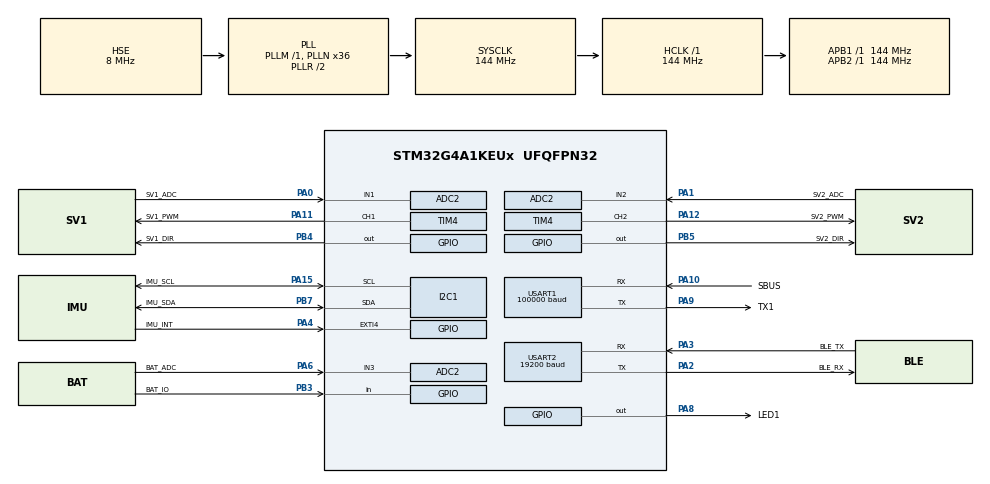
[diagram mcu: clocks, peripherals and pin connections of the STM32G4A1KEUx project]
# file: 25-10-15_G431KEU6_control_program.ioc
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ADC2.Channel-0\#ChannelRegularConversion=ADC_CHANNEL_1
ADC2.ClockPrescaler=ADC_CLOCK_SYNC_PCLK_DIV4
ADC2.NbrOfConversionFlag=1
ADC2.OffsetNumber-0\#ChannelRegularConversion=ADC_OFFSET_NONE
ADC2.Rank-0\#ChannelRegularConversion=1
ADC2.SamplingTime-0\#ChannelRegularConversion=ADC_SAMPLETIME_2CYCLES_5
Dma.Request0=USART1_RX
Dma.Request1=USART1_TX
Dma.Request2=USART2_RX
Dma.Request3=USART2_TX
Dma.USART1_RX.0.Direction=DMA_PERIPH_TO_MEMORY
Dma.USART1_RX.0.EventEnable=DISABLE
Dma.USART1_RX.0.Instance=DMA1_Channel1
Dma.USART1_RX.0.MemDataAlignment=DMA_MDATAALIGN_BYTE
Dma.USART1_RX.0.MemInc=DMA_MINC_ENABLE
Dma.USART1_RX.0.Mode=DMA_CIRCULAR
Dma.USART1_RX.0.PeriphDataAlignment=DMA_PDATAALIGN_BYTE
Dma.USART1_RX.0.PeriphInc=DMA_PINC_DISABLE
Dma.USART1_RX.0.Polarity=HAL_DMAMUX_REQ_GEN_RISING
Dma.USART1_RX.0.Priority=DMA_PRIORITY_LOW
Dma.USART1_RX.0.RequestNumber=1
Dma.USART1_RX.0.SignalID=NONE
Dma.USART1_RX.0.SyncEnable=DISABLE
Dma.USART1_RX.0.SyncPolarity=HAL_DMAMUX_SYNC_NO_EVENT
Dma.USART1_RX.0.SyncRequestNumber=1
Dma.USART1_RX.0.SyncSignalID=NONE
Dma.USART1_TX.1.Direction=DMA_MEMORY_TO_PERIPH
Dma.USART1_TX.1.EventEnable=DISABLE
Dma.USART1_TX.1.Instance=DMA1_Channel2
Dma.USART1_TX.1.MemDataAlignment=DMA_MDATAALIGN_BYTE
Dma.USART1_TX.1.MemInc=DMA_MINC_ENABLE
Dma.USART1_TX.1.Mode=DMA_NORMAL
Dma.USART1_TX.1.PeriphDataAlignment=DMA_PDATAALIGN_BYTE
Dma.USART1_TX.1.PeriphInc=DMA_PINC_DISABLE
Dma.USART1_TX.1.Polarity=HAL_DMAMUX_REQ_GEN_RISING
Dma.USART1_TX.1.Priority=DMA_PRIORITY_LOW
Dma.USART1_TX.1.RequestNumber=1
Dma.USART1_TX.1.SignalID=NONE
Dma.USART1_TX.1.SyncEnable=DISABLE
Dma.USART1_TX.1.SyncPolarity=HAL_DMAMUX_SYNC_NO_EVENT
Dma.USART1_TX.1.SyncRequestNumber=1
Dma.USART1_TX.1.SyncSignalID=NONE
Dma.USART2_RX.2.Direction=DMA_PERIPH_TO_MEMORY
Dma.USART2_RX.2.EventEnable=DISABLE
Dma.USART2_RX.2.Instance=DMA1_Channel3
Dma.USART2_RX.2.MemDataAlignment=DMA_MDATAALIGN_BYTE
Dma.USART2_RX.2.MemInc=DMA_MINC_ENABLE
Dma.USART2_RX.2.Mode=DMA_CIRCULAR
Dma.USART2_RX.2.PeriphDataAlignment=DMA_PDATAALIGN_BYTE
Dma.USART2_RX.2.PeriphInc=DMA_PINC_DISABLE
Dma.USART2_RX.2.Polarity=HAL_DMAMUX_REQ_GEN_RISING
Dma.USART2_RX.2.Priority=DMA_PRIORITY_LOW
Dma.USART2_RX.2.RequestNumber=1
Dma.USART2_RX.2.SignalID=NONE
Dma.USART2_RX.2.SyncEnable=DISABLE
Dma.USART2_RX.2.SyncPolarity=HAL_DMAMUX_SYNC_NO_EVENT
Dma.USART2_RX.2.SyncRequestNumber=1
Dma.USART2_RX.2.SyncSignalID=NONE
Dma.USART2_TX.3.Direction=DMA_MEMORY_TO_PERIPH
Dma.USART2_TX.3.EventEnable=DISABLE
Dma.USART2_TX.3.Instance=DMA1_Channel4
Dma.USART2_TX.3.MemDataAlignment=DMA_MDATAALIGN_BYTE
Dma.USART2_TX.3.MemInc=DMA_MINC_ENABLE
Dma.USART2_TX.3.Mode=DMA_NORMAL
Dma.USART2_TX.3.PeriphDataAlignment=DMA_PDATAALIGN_BYTE
Dma.USART2_TX.3.PeriphInc=DMA_PINC_DISABLE
Dma.USART2_TX.3.Polarity=HAL_DMAMUX_REQ_GEN_RISING
Dma.USART2_TX.3.Priority=DMA_PRIORITY_LOW
Dma.USART2_TX.3.RequestNumber=1
Dma.USART2_TX.3.SignalID=NONE
Dma.USART2_TX.3.SyncEnable=DISABLE
Dma.USART2_TX.3.SyncPolarity=HAL_DMAMUX_SYNC_NO_EVENT
Dma.USART2_TX.3.SyncRequestNumber=1
Dma.USART2_TX.3.SyncSignalID=NONE
I2C1.Timing=0x60715075
Mcu.Family=STM32G4
Mcu.Name=STM32G4A1KEUx
Mcu.Package=UFQFPN32
NVIC.DMA1_Channel1_IRQn=true\:0\:0\:false\:false\:true\:false\:true\:true
NVIC.DMA1_Channel2_IRQn=true\:0\:0\:false\:false\:true\:false\:true\:true
NVIC.DMA1_Channel3_IRQn=true\:0\:0\:false\:false\:true\:false\:true\:true
NVIC.DMA1_Channel4_IRQn=true\:0\:0\:false\:false\:true\:false\:true\:true
NVIC.EXTI4_IRQn=true\:0\:0\:false\:false\:true\:true\:true\:true
NVIC.PriorityGroup=NVIC_PRIORITYGROUP_4
NVIC.TIM3_IRQn=true\:0\:0\:false\:false\:true\:true\:true\:true
NVIC.TIM4_IRQn=true\:0\:0\:false\:false\:true\:true\:true\:true
NVIC.TIM6_DAC_IRQn=true\:0\:0\:false\:false\:true\:true\:true\:true
NVIC.USART1_IRQn=true\:0\:0\:false\:false\:true\:false\:true\:true
NVIC.USART2_IRQn=true\:0\:0\:false\:false\:true\:false\:true\:true
PA0.GPIO_Label=SV1_ADC
PA0.Mode=IN1-Single-Ended
PA0.Signal=ADC2_IN1
PA1.GPIO_Label=SV2_ADC
PA1.Mode=IN2-Single-Ended
PA1.Signal=ADC2_IN2
PA10.GPIO_Label=SBUS
PA10.Mode=Asynchronous
PA10.Signal=USART1_RX
PA11.GPIO_Label=SV1_PWM
PA11.Signal=S_TIM4_CH1
PA12.GPIO_Label=SV2_PWM
PA12.Signal=S_TIM4_CH2
PA13.Mode=Serial_Wire
PA13.Signal=SYS_JTMS-SWDIO
PA14.Mode=Serial_Wire
PA14.Signal=SYS_JTCK-SWCLK
PA15.GPIO_Label=IMU_SCL
PA15.Mode=I2C
PA15.Signal=I2C1_SCL
PA2.GPIO_Label=BLE_RX
PA2.Mode=Asynchronous
PA2.Signal=USART2_TX
PA3.GPIO_Label=BLE_TX
PA3.Mode=Asynchronous
PA3.Signal=USART2_RX
PA4.GPIO_Label=IMU_INT
PA4.Signal=GPXTI4
PA6.GPIO_Label=BAT_ADC
PA6.Mode=IN3-Single-Ended
PA6.Signal=ADC2_IN3
PA8.GPIO_Label=LED1
PA8.Signal=GPIO_Output
PA9.GPIO_Label=TX1
PA9.Mode=Asynchronous
PA9.Signal=USART1_TX
PB3.GPIO_Label=BAT_IO
PB3.Signal=GPIO_Input
PB4.GPIO_Label=SV1_DIR
PB4.Signal=GPIO_Output
PB5.GPIO_Label=SV2_DIR
PB5.Signal=GPIO_Output
PB7.GPIO_Label=IMU_SDA
PB7.Mode=I2C
PB7.Signal=I2C1_SDA
PF0-OSC_IN.Mode=HSE-External-Oscillator
PF0-OSC_IN.Signal=RCC_OSC_IN
PF1-OSC_OUT.Mode=HSE-External-Oscillator
PF1-OSC_OUT.Signal=RCC_OSC_OUT
ProjectManager.HeapSize=0x200
ProjectManager.StackSize=0x400
ProjectManager.TargetToolchain=MDK-ARM V5.32
RCC.ADC12Freq_Value=144000000
RCC.ADC345Freq_Value=144000000
RCC.AHBFreq_Value=144000000
RCC.APB1Freq_Value=144000000
RCC.APB1TimFreq_Value=144000000
RCC.APB2Freq_Value=144000000
RCC.APB2TimFreq_Value=144000000
RCC.CortexFreq_Value=144000000
RCC.EXTERNAL_CLOCK_VALUE=12288000
RCC.HCLKFreq_Value=144000000
RCC.HSE_VALUE=8000000
RCC.HSI48_VALUE=48000000
RCC.HSI_VALUE=16000000
RCC.LSE_VALUE=32768
RCC.PLLN=36
RCC.PLLSourceVirtual=RCC_PLLSOURCE_HSE
RCC.SYSCLKFreq_VALUE=144000000
RCC.SYSCLKSource=RCC_SYSCLKSOURCE_PLLCLK
RCC.VCOOutputFreq_Value=288000000
SH.S_TIM4_CH1.0=TIM4_CH1,PWM Generation1 CH1
SH.S_TIM4_CH2.0=TIM4_CH2,PWM Generation2 CH2
TIM3.Channel-Output\ Compare2\ No\ Output=TIM_CHANNEL_2
TIM3.PeriodNoDither=1000-1
TIM3.Prescaler=144-1
TIM4.AutoReloadPreload=TIM_AUTORELOAD_PRELOAD_ENABLE
TIM4.Channel-PWM\ Generation1\ CH1=TIM_CHANNEL_1
TIM4.Channel-PWM\ Generation2\ CH2=TIM_CHANNEL_2
TIM4.OCMode_PWM-PWM\ Generation2\ CH2=TIM_OCMODE_PWM1
TIM4.PeriodNoDither=5000-1
TIM4.Prescaler=144-1
TIM4.PulseNoDither_1=2500
TIM4.PulseNoDither_2=500
TIM4.TIM_MasterOutputTrigger=TIM_TRGO_UPDATE
TIM6.PeriodNoDither=500-1
TIM6.Prescaler=1440-1
USART1.BaudRate=100000
USART1.Parity=PARITY_EVEN
USART1.StopBits=STOPBITS_2
USART1.VirtualMode-Asynchronous=VM_ASYNC
USART1.WordLength=WORDLENGTH_9B
USART2.BaudRate=19200
USART2.VirtualMode-Asynchronous=VM_ASYNC
VP_CORDIC_VS_CORDIC.Mode=CORDIC_Activate
VP_SYS_VS_DBSignals.Mode=DisableDeadBatterySignals
VP_TIM3_VS_no_output2.Mode=Output Compare2 No Output
VP_TIM6_VS_ClockSourceINT.Mode=Enable_Timer
board=custom

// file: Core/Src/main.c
/* USER CODE BEGIN Header */
/**
  ******************************************************************************
  * @file           : main.c
  * @brief          : Main program body
  ******************************************************************************
  * @attention
  *
  * Copyright (c) 2025 STMicroelectronics.
  * All rights reserved.
  *
  * This software is licensed under terms that can be found in the LICENSE file
  * in the root directory of this software component.
  * If no LICENSE file comes with this software, it is provided AS-IS.
  *
  ******************************************************************************
  */
/* USER CODE END Header */
#include "main.h"
#include "adc.h"
#include "cordic.h"
#include "dma.h"
#include "i2c.h"
#include "tim.h"
#include "usart.h"
#include "gpio.h"

/* USER CODE BEGIN Includes */
#include <stdio.h>
#include <stdint.h>
#include <math.h>  // 用于比较标准数学函数
#include <string.h>
#include <stdlib.h>
/* USER CODE END Includes */

/* USER CODE BEGIN PV */
//-------------control program begin---------------
// 全局变量定义
#define SERVO1_DIR 1.0f
#define SERVO2_DIR -1.0f
volatile MotionParams_t current_params;
volatile MotionParams_t new_params;
volatile MotionParams_t transition_params;
volatile SystemState_t system_state = STATE_IDLE;
volatile uint16_t t_counter = 0;
volatile uint8_t params_updated = 0;
volatile uint8_t transition_active = 0;
volatile uint32_t homing_delay_cnt = 0;
#define HOMING_DELAY_MS 200
volatile uint8_t servo_enable_flag = 0;//舵机使能标志位（上电默认关闭，CH5下拨后开启）
volatile uint8_t ch5_last_state = 0;  // 0=未下拨，1=已下拨
//-------------control program end------------------
//-------------sbus program begin----------------
SBUS_HandleTypeDef sbus = {0};
extern UART_HandleTypeDef huart1;  // 发送数据
extern UART_HandleTypeDef huart2;  // 接收数据
//-------------sbus program end------------------
/* USER CODE END PV */

void SystemClock_Config(void);
/* USER CODE BEGIN PFP */
//-------------control program begin---------------
// 函数声明
void CORDIC_Init(void);
void Range_to_2Pi(float *in, float *out);
float cordic_cos(float angle_rad);
float calculate_phi_value(uint16_t t, volatile MotionParams_t* params,float dir);
void update_derived_params(volatile MotionParams_t* params);
void Update_PWM_CCR(float phi_value);
void Motion_State_Machine_Handler(void);
void Update_Motion_Parameters(float phi_max, float phi_min, uint16_t n);
void Get_Current_Status(float* current_angle, uint16_t* current_t, SystemState_t* state, uint8_t* is_transition);
//-------------control program end------------------
void parse_sbus_frame(void);
uint16_t map_throttle_to_n(uint16_t throttle_value);
void process_sbus_throttle(void);
void process_ch5_switch(void);
/* USER CODE END PFP */

int main(void)
{

  /* MCU Configuration--------------------------------------------------------*/

  /* Reset of all peripherals, Initializes the Flash interface and the Systick. */
  HAL_Init();

  /* Configure the system clock */
  SystemClock_Config();

  /* Initialize all configured peripherals */
  MX_GPIO_Init();
  MX_DMA_Init();
  MX_ADC2_Init();
  MX_I2C1_Init();
  MX_TIM3_Init();
  MX_TIM4_Init();
  MX_USART1_UART_Init();
  MX_USART2_UART_Init();
  MX_CORDIC_Init();
  MX_TIM6_Init();
  /* USER CODE BEGIN 2 */

  //-------------control program begin----------------
    // 初始化CORDIC
    CORDIC_Init();
    //初始化默认参数
    current_params.phi_max = 120.0f;//最大120度
    current_params.phi_min = 30.0f;  //最小30度
    current_params.n = 199;         // 200 means 周期约2s
    update_derived_params(&current_params);
    // 启动PWM输出
    HAL_TIM_PWM_Start(&htim4, TIM_CHANNEL_1);
    HAL_TIM_PWM_Start(&htim4, TIM_CHANNEL_2);
    //启动TIM4中断
    HAL_TIM_Base_Start_IT(&htim4);
		HAL_TIM_Base_Start_IT(&htim6);
  //-------------control program end------------------

//-------------sbus program begin----------------
    // Clear all relevant flags for UART and DMA
    __HAL_UART_CLEAR_FLAG(&huart1, UART_FLAG_IDLE);
    __HAL_DMA_CLEAR_FLAG(huart1.hdmarx, DMA_FLAG_TC2);
    __HAL_UART_ENABLE_IT(&huart1, UART_IT_IDLE);               // start usart1 idle
    HAL_UART_Receive_DMA(&huart1, sbus.rx_buf, SBUS_FRAME_SIZE);// start usart1 dma receive
//-------------sbus program end------------------

  /* USER CODE END 2 */

  /* Infinite loop */
  /* USER CODE BEGIN WHILE */
  while (1)
  {
            if ( sbus.idle_flag ) {
          sbus.idle_flag  = 0;
          sbus.rx_index++;
          parse_sbus_frame();
//          printf("Received: %u bytes :", sbus.rx_len);
//          for (int i = 0; i < sbus.rx_len; i++) {
//              printf("%02X ", sbus.rx_buf[i]);
//          }
//          printf("\n\r");
          HAL_UART_Receive_DMA(&huart1, sbus.rx_buf, SBUS_FRAME_SIZE);
      }
      // 新增：先检测CH5状态，判断是否使能舵机
    process_ch5_switch();
    // 仅当舵机使能后，才处理SBUS调速和状态机
    if (servo_enable_flag == 1) {
			//处理SBUS油门控制
        process_sbus_throttle();
		}
		HAL_Delay(1);
//         // 可选：发送调试信息到串口
//        static uint32_t last_debug_time = 0;
//        if (HAL_GetTick() - last_debug_time > 1000) {  // ÿ���ӡһ��
//            printf("n: %d, throttle: %d\r\n",
//                   current_params.n, sbus.channels[2]);
//            last_debug_time = HAL_GetTick();
//        }
//
//        HAL_Delay(1);  // 适当延时

    //-------------control program begin----------------
//
//              //  测试2：在运行过程中更新参数
//        HAL_Delay(10000); // 运行10秒后更新参数
//        Update_Motion_Parameters(180.0f, 90.0f, 199); // 2s����
////        printf("10s done update param...\r\n");
//
//        HAL_Delay(10000); //  再运行1s后更新
//        Update_Motion_Parameters(150.0f, 30.0f, 99); //  1s����
////        printf("5s done update param again...\r\n");

    //-------------control program end------------------
    /* USER CODE END WHILE */
}
	}
void SystemClock_Config(void)
{
  RCC_OscInitTypeDef RCC_OscInitStruct = {0};
  RCC_ClkInitTypeDef RCC_ClkInitStruct = {0};

  /** Configure the main internal regulator output voltage
  */
  HAL_PWREx_ControlVoltageScaling(PWR_REGULATOR_VOLTAGE_SCALE1);

  /** Initializes the RCC Oscillators according to the specified parameters
  * in the RCC_OscInitTypeDef structure.
  */
  RCC_OscInitStruct.OscillatorType = RCC_OSCILLATORTYPE_HSE;
  RCC_OscInitStruct.HSEState = RCC_HSE_ON;
  RCC_OscInitStruct.PLL.PLLState = RCC_PLL_ON;
  RCC_OscInitStruct.PLL.PLLSource = RCC_PLLSOURCE_HSE;
  RCC_OscInitStruct.PLL.PLLM = RCC_PLLM_DIV1;
  RCC_OscInitStruct.PLL.PLLN = 36;
  RCC_OscInitStruct.PLL.PLLP = RCC_PLLP_DIV2;
  RCC_OscInitStruct.PLL.PLLQ = RCC_PLLQ_DIV2;
  RCC_OscInitStruct.PLL.PLLR = RCC_PLLR_DIV2;
  if (HAL_RCC_OscConfig(&RCC_OscInitStruct) != HAL_OK)
  {
    Error_Handler();
  }

  /** Initializes the CPU, AHB and APB buses clocks
  */
  RCC_ClkInitStruct.ClockType = RCC_CLOCKTYPE_HCLK|RCC_CLOCKTYPE_SYSCLK
                              |RCC_CLOCKTYPE_PCLK1|RCC_CLOCKTYPE_PCLK2;
  RCC_ClkInitStruct.SYSCLKSource = RCC_SYSCLKSOURCE_PLLCLK;
  RCC_ClkInitStruct.AHBCLKDivider = RCC_SYSCLK_DIV1;
  RCC_ClkInitStruct.APB1CLKDivider = RCC_HCLK_DIV1;
  RCC_ClkInitStruct.APB2CLKDivider = RCC_HCLK_DIV1;

  if (HAL_RCC_ClockConfig(&RCC_ClkInitStruct, FLASH_LATENCY_4) != HAL_OK)
  {
    Error_Handler();
  }
}

/* USER CODE BEGIN 4 */
//-------------control program begin----------------
// 新增：TIM6中断回调函数（1ms触发一次）
void HAL_TIM_PeriodElapsedCallback(TIM_HandleTypeDef *htim) {
    if (htim->Instance == TIM6) {
        // 仅当舵机使能后，才执行状态机
        if (servo_enable_flag == 1) {
            Motion_State_Machine_Handler();
        } else {
            // 未使能时，保持舵机初始位置（防止扑动）
            float phi_servo_zero1 = 0.0f;
            float phi_servo_zero2 = 140.0f;
            uint32_t ccr1_zero = (uint32_t)((phi_servo_zero1 * 2000.0f) / 180.0f + 500.0f);
            uint32_t ccr2_zero = (uint32_t)((phi_servo_zero2 * 2000.0f) / 180.0f + 500.0f);
            ccr1_zero = (ccr1_zero > 2500) ? 2500 : (ccr1_zero < 500) ? 500 : ccr1_zero;
            ccr2_zero = (ccr2_zero > 2500) ? 2500 : (ccr2_zero < 500) ? 500 : ccr2_zero;
            TIM4->CCR1 = ccr1_zero;
            TIM4->CCR2 = ccr2_zero;
        }
    }
}
// CORDIC初始化
void CORDIC_Init(void) {
    // 配置CORDIC为单输入余弦模式，6周期24圈精度
    CORDIC->CSR = CORDIC_FUNCTION_COSINE | CORDIC_PRECISION_6CYCLES;
//    // 巨简洁模式
//    CORDIC->CSR = 0x00180060; //32bit、双in双out，模量为1、24cycles
}
void Range_to_2Pi(float *in, float *out) {// 角度范围限制函数
    float tempf = *in;
    if(tempf > PI) {
        tempf = fmodf(tempf, 2*PI);
        if(tempf > PI) tempf -= 2*PI;
    }
    else if(tempf < -PI) {
        tempf = fmodf(tempf, 2*PI);
        if(tempf < -PI) tempf += 2*PI;
    }
    *out = tempf;
}
// CORDIC余弦计算
float cordic_cos(float angle_rad) {
    // 将角度转换为Q1.31格式
    int32_t angle_q31 = (int32_t)(angle_rad * 683565275.58f);
    // 写入角度值
    CORDIC->WDATA = angle_q31;
    // 等待计算完成
    while ((CORDIC->CSR & CORDIC_CSR_RRDY) == 0);
    // 读取结果并转换为浮点数
    int32_t result = CORDIC->RDATA;
    return (float)result / 2147483648.0f;

//        HAL_GPIO_WritePin(LED1_GPIO_Port,LED1_Pin,GPIO_PIN_SET);
//        printf("CSR = 0x%08lX\n", (unsigned long)CORDIC->CSR);
	//        // 将角度转换为Q1.31格式
//        int32_t angle_q31 = (int32_t)(angle_rad * 683565275.58f);
//        CORDIC->WDATA = angle_q31;
//        CORDIC->WDATA = 0x7FFFFFFF;   // ģֵ=1.0
//        while(!(CORDIC->CSR & CORDIC_CSR_RRDY)){ __NOP();}
//        int32_t cos_value = CORDIC->RDATA; // cos
//        int32_t sin_value = CORDIC->RDATA; // sin
//        return (float)cos_value / 2147483648.0f;

}

// 更新中间参数计算
void update_derived_params(volatile MotionParams_t* params) {
    params->phi_s = (params->phi_max - params->phi_min) / 2.0f;
    params->phi_m = (params->phi_max + params->phi_min) / 2.0f;
}
// 计算运动曲线角度计算
float calculate_phi_value(uint16_t t, volatile MotionParams_t* params, float dir) {
    // 计算角度参数：2π*(t/(2n+2))
    if (t == 0)
    {
      if (dir == SERVO1_DIR) return 20.0f;      // 舵机1归位90°
      if (dir == SERVO2_DIR) return 0.0f;     // 舵机2归位0°
    }
	  float angle = 2.0f * 3.1415926535f * ((float)t / (2.0f * params->n + 2.0f));
    float limited_angle;
    Range_to_2Pi(&angle, &limited_angle);
    // 使用CORDIC计算余弦
    float cos_val = cordic_cos(limited_angle);
//    printf("cos_vals=%.1f\r\n", cos_val);
//    printf("UP: phi_s=%.1f, phi_m=%.1f\r\n", params->phi_s, params->phi_m);
    // 计算最终角度值
    return params->phi_s * (dir*cos_val) + params->phi_m;
}
//更新PWM占空比

/*void Update_PWM_CCR(float phi_value) {
    // 将角度值线性映射到CCR值 (500-2500)
    volatile MotionParams_t* params = &current_params;
//    uint32_t ccr_value = (uint32_t)((phi_value - params->phi_min) *
//                                   4999.0f / (params->phi_max - params->phi_min));
    uint32_t ccr_value = (uint32_t)((phi_value*2000)/180.0f+500);

     // 限制CCR值在有效范围内
    if (ccr_value > 2500) ccr_value = 2500;
    if (ccr_value < 500) ccr_value = 500;

    // 更新两个通道的CCR值
    TIM4->CCR1 = ccr_value;
    TIM4->CCR2 = ccr_value;
}*/

// // 更新PWM占空比(双通道反向)
void Update_PWM_CCR(float phi_value) {
    volatile MotionParams_t* params = &current_params;
    // 正向角度：传入的phi_value
    float phi_forward = phi_value;
    // 反向角度：基于正向角度取反（保持反向逻辑）
    float phi_reverse = params->phi_m * 2 - phi_value; // 等价于phi_m - (phi_forward - phi_m)

     // 角度→CCR映射（原逻辑不变）
    uint32_t ccr1_value = (uint32_t)((phi_forward * 2000.0f) / 180.0f + 500.0f);
    uint32_t ccr2_value = (uint32_t)((phi_reverse * 2000.0f) / 180.0f + 500.0f);

    //限幅保护
    ccr1_value = (ccr1_value > 2500) ? 2500 : (ccr1_value < 500) ? 500 : ccr1_value;
    ccr2_value = (ccr2_value > 2500) ? 2500 : (ccr2_value < 500) ? 500 : ccr2_value;

    //更新PWM
    TIM4->CCR1 = ccr1_value;
    TIM4->CCR2 = ccr2_value;
}
// 用户参数更新接口(优化后)
void Update_Motion_Parameters(float phi_max, float phi_min, uint16_t n) {
//    printf("param update request: max=%.1f, min=%.1f, n=%d\r\n", phi_max, phi_min, n);

    // 保存完整新参数
    new_params.phi_max = phi_max;
    new_params.phi_min = phi_min;
    new_params.n = n;
    update_derived_params(&new_params);

    // 根据当前状态创建相应的过渡参数
    if (system_state == STATE_DOWNSTROKE) {
       // 在downstroke期间更新：过渡参数使用原phi_min + 新phi_max和n
//        printf("DOWNSTROKE--,creat trans params\r\n");
        printf("1\r\n");
        transition_params.phi_max = phi_max;                    //新最大值
        transition_params.phi_min = current_params.phi_min;     // 原最小值（保持连续）
        transition_params.n = n;                                // 新n值
        update_derived_params(&transition_params);
        transition_active = 1;
        printf("trans param: max=%.1f, min=%.1f, n=%d\r\n",
               transition_params.phi_max, transition_params.phi_min, transition_params.n);

    }
    else if (system_state == STATE_UPSTROKE) {
         // 在upstroke期间更新：过渡参数使用原phi_max + 新phi_min和新n值
//        printf("UPSTROKE--,creat trans params\r\n");
        printf("2\r\n");
        transition_params.phi_max = current_params.phi_max;     // 原最大值（保持连续）
        transition_params.phi_min = phi_min;                    // 新最小值
        transition_params.n = n;                                // 新n值ֵ
        update_derived_params(&transition_params);
        transition_active = 1;
        printf("trans params: max=%.1f, min=%.1f, n=%d\r\n",
               transition_params.phi_max, transition_params.phi_min, transition_params.n);

    }
    else if (system_state == STATE_IDLE) {
         // 空闲状态：直接应用完整参数
//        printf("IDLE--,aplly new params\r\n");
//        printf("3\r\n");
        current_params = new_params;
        transition_active = 0;
    }
    else if (system_state == STATE_TRANSITION_UPSTROKE) {
        // 已经在过渡状态中：直接更新new_params，当前过渡继续执行
//        printf("TRANSITION--,wait to update\r\n");
//        printf("4\r\n");
    }
    params_updated = 1;
}
//  状态机处理函数（改造后）
void Motion_State_Machine_Handler(void) {
    float phi_servo1, phi_servo2; // 舵机1/2的目标角度
       switch(system_state){
	     case STATE_IDLE:
				  if (servo_enable_flag == 1) {
					system_state = STATE_HOMING;
          homing_delay_cnt = 0;
		 }
            break;
		    case STATE_HOMING:
		        // 1. 定义舵机0度目标值，复用原有角度→CCR的映射逻辑
          float phi_servo_zero1 = 20.0f;
				  float phi_servo_zero2 = 0.0f;		//舵机目标归位角度
          uint32_t ccr1_zero = (uint32_t)((phi_servo_zero1 * 2000.0f) / 180.0f + 500.0f);
          uint32_t ccr2_zero = (uint32_t)((phi_servo_zero2 * 2000.0f) / 180.0f + 500.0f);

          // 2. 限幅保护（和其他状态保持一致，防止异常值）
          ccr1_zero = (ccr1_zero > 2500) ? 2500 : (ccr1_zero < 500) ? 500 : ccr1_zero;
          ccr2_zero = (ccr2_zero > 2500) ? 2500 : (ccr2_zero < 500) ? 500 : ccr2_zero;

          // 3. 更新PWM寄存器，让双舵机归位到0度
          TIM4->CCR1 = ccr1_zero;
          TIM4->CCR2 = ccr2_zero;
				// 第二步：延时计数，等待舵机到位
            homing_delay_cnt++;
            if (homing_delay_cnt >= HOMING_DELAY_MS) {
                // 归位完成：切换到下冲程，清零步数计数器
                system_state = STATE_DOWNSTROKE;
                t_counter = 0;
                homing_delay_cnt = 0;   // 清零延时计数器，方便下次归位
            }
            break;

        case STATE_DOWNSTROKE:
            if (t_counter <= current_params.n) {
                 // 1. 计算两个舵机的角度（方向系数分别为SERVO1_DIR/SERVO2_DIR）
                phi_servo1 = calculate_phi_value(t_counter, &current_params, SERVO1_DIR);
                phi_servo2 = calculate_phi_value(t_counter, &current_params, SERVO2_DIR);

                // 2. 分别计算两个舵机的CCR值（复用原有PWM映射逻辑）
                uint32_t ccr1 = (uint32_t)((phi_servo1 * 2000.0f) / 180.0f + 500.0f);
                uint32_t ccr2 = (uint32_t)((phi_servo2 * 2000.0f) / 180.0f + 500.0f);

                // 3. 限幅保护
                ccr1 = (ccr1 > 2500) ? 2500 : (ccr1 < 500) ? 500 : ccr1;
                ccr2 = (ccr2 > 2500) ? 2500 : (ccr2 < 500) ? 500 : ccr2;

                // 4. 更新PWM通道
                TIM4->CCR1 = ccr1;
                TIM4->CCR2 = ccr2;

                t_counter++;
                  // 原有状态切换逻辑（完全不变）
                if (t_counter > current_params.n) {
                    if (transition_active) {
                        system_state = STATE_TRANSITION_UPSTROKE;
                        current_params = transition_params;
                    }
                    else if (params_updated) {
                        current_params = new_params;
                        params_updated = 0;
                        system_state = STATE_UPSTROKE;
                    }
                    else {
                        system_state = STATE_UPSTROKE;
                    }
                    transition_active = 0;
                    t_counter = current_params.n+1;
                }
            }
            break;

        case STATE_UPSTROKE:
            if (t_counter <= 2*current_params.n+1) {
                 // 同上：计算双舵机角度→CCR→更新PWM
                phi_servo1 = calculate_phi_value(t_counter, &current_params, SERVO1_DIR);
                phi_servo2 = calculate_phi_value(t_counter, &current_params, SERVO2_DIR);

                uint32_t ccr1 = (uint32_t)((phi_servo1 * 2000.0f) / 180.0f + 500.0f);
                uint32_t ccr2 = (uint32_t)((phi_servo2* 2000.0f) / 180.0f + 500.0f);

                ccr1 = (ccr1 > 2500) ? 2500 : (ccr1 < 500) ? 500 : ccr1;
                ccr2 = (ccr2 > 2500) ? 2500 : (ccr2 < 500) ? 500 : ccr2;

                TIM4->CCR1 = ccr1;
                TIM4->CCR2 = ccr2;

                t_counter++;
                 // 原有状态切换逻辑（完全不变）
                if (t_counter > 2*current_params.n+1) {
                    if (transition_active) {
                        system_state = STATE_TRANSITION_DOWNSTROKE;
                        current_params = transition_params;
                    } else if (params_updated) {
                        current_params = new_params;
                        params_updated = 0;
                        system_state = STATE_DOWNSTROKE;
                    } else {
                        system_state = STATE_DOWNSTROKE;
                    }
                    t_counter = 0;
                    transition_active = 0;
                }
            }
            break;

         // 过渡状态（TRANSITION_DOWNSTROKE/TRANSITION_UPSTROKE）逻辑完全复用
        // 仅将角度计算改为双舵机方向版
        case STATE_TRANSITION_DOWNSTROKE:
            if (t_counter <= current_params.n) {
                phi_servo1 = calculate_phi_value(t_counter, &current_params, SERVO1_DIR);
                phi_servo2 = calculate_phi_value(t_counter, &current_params, SERVO2_DIR);

                uint32_t ccr1 = (uint32_t)((phi_servo1* 2000.0f) / 180.0f + 500.0f);
                uint32_t ccr2 = (uint32_t)((phi_servo2* 2000.0f) / 180.0f + 500.0f);

                ccr1 = (ccr1 > 2500) ? 2500 : (ccr1 < 500) ? 500 : ccr1;
                ccr2 = (ccr2 > 2500) ? 2500 : (ccr2 < 500) ? 500 : ccr2;

                TIM4->CCR1 = ccr1;
                TIM4->CCR2 = ccr2;

                HAL_GPIO_WritePin(LED1_GPIO_Port,LED1_Pin,GPIO_PIN_SET);
                t_counter++;

                if (t_counter > current_params.n) {
                    current_params = new_params;
                    system_state = STATE_UPSTROKE;
                    t_counter = current_params.n+1;
                    transition_active = 0;
                    params_updated = 0;
                }
            }
            break;

        case STATE_TRANSITION_UPSTROKE:
            if (t_counter <= 2*current_params.n+1) {
                phi_servo1 = calculate_phi_value(t_counter, &current_params, SERVO1_DIR);
                phi_servo2 = calculate_phi_value(t_counter, &current_params, SERVO2_DIR);

                uint32_t ccr1 = (uint32_t)((phi_servo1 * 2000.0f) / 180.0f + 500.0f);
                uint32_t ccr2 = (uint32_t)((phi_servo2 * 2000.0f) / 180.0f + 500.0f);

                ccr1 = (ccr1 > 2500) ? 2500 : (ccr1 < 500) ? 500 : ccr1;
                ccr2 = (ccr2 > 2500) ? 2500 : (ccr2 < 500) ? 500 : ccr2;

                TIM4->CCR1 = ccr1;
                TIM4->CCR2 = ccr2;

                HAL_GPIO_WritePin(LED1_GPIO_Port,LED1_Pin,GPIO_PIN_SET);
                t_counter++;

                if (t_counter > 2*current_params.n+1) {
                    current_params = new_params;
                    system_state = STATE_DOWNSTROKE;
                    t_counter = 0;
                    transition_active = 0;
                    params_updated = 0;
                }
            }
            break;
    }
}
//
//-------------control program end------------------

//-------------sbus program begin----------------
void parse_sbus_frame(void){
    if (sbus.rx_buf[0] == SBUS_HEADER && sbus.rx_buf[24] == SBUS_FOOTER) {

//  if (sbus.rx_len == 25) {
      sbus.channels[0] = ((int16_t)sbus.rx_buf[1] >> 0 | ((int16_t)sbus.rx_buf[2] << 8 )) & 0x07FF;
      sbus.channels[1] = ((int16_t)sbus.rx_buf[2] >> 3 | ((int16_t)sbus.rx_buf[3] << 5 )) & 0x07FF;
      sbus.channels[2] = ((int16_t)sbus.rx_buf[3] >> 6 | ((int16_t)sbus.rx_buf[4] << 2 ) | (int16_t)sbus.rx_buf[5] << 10 ) & 0x07FF;
      sbus.channels[3] = ((int16_t)sbus.rx_buf[5] >> 1 | ((int16_t)sbus.rx_buf[6] << 7 )) & 0x07FF;
      sbus.channels[4] = ((int16_t)sbus.rx_buf[6] >> 4 | ((int16_t)sbus.rx_buf[7] << 4 )) & 0x07FF;
      sbus.channels[5] = ((int16_t)sbus.rx_buf[7] >> 7 | ((int16_t)sbus.rx_buf[8] << 1 ) | (int16_t)sbus.rx_buf[9] << 9 ) & 0x07FF;
      sbus.channels[6] = ((int16_t)sbus.rx_buf[9] >> 2 | ((int16_t)sbus.rx_buf[10] << 6 )) & 0x07FF;
      sbus.channels[7] = ((int16_t)sbus.rx_buf[10] >> 5 | ((int16_t)sbus.rx_buf[11] << 3 )) & 0x07FF;
      sbus.channels[8] = ((int16_t)sbus.rx_buf[12] << 0 | ((int16_t)sbus.rx_buf[13] << 8 )) & 0x07FF;
      sbus.channels[9] = ((int16_t)sbus.rx_buf[13] >> 3 | ((int16_t)sbus.rx_buf[14] << 5 )) & 0x07FF;
      sbus.channels[10] = ((int16_t)sbus.rx_buf[14] >> 6 | ((int16_t)sbus.rx_buf[15] << 2 ) | (int16_t)sbus.rx_buf[16] << 10 ) & 0x07FF;
      sbus.channels[11] = ((int16_t)sbus.rx_buf[16] >> 1 | ((int16_t)sbus.rx_buf[17] << 7 )) & 0x07FF;
      sbus.channels[12] = ((int16_t)sbus.rx_buf[17] >> 4 | ((int16_t)sbus.rx_buf[18] << 4 )) & 0x07FF;
      sbus.channels[13] = ((int16_t)sbus.rx_buf[18] >> 7 | ((int16_t)sbus.rx_buf[19] << 1 ) | (int16_t)sbus.rx_buf[20] << 9 ) & 0x07FF;
      sbus.channels[14] = ((int16_t)sbus.rx_buf[20] >> 2 | ((int16_t)sbus.rx_buf[21] << 6 )) & 0x07FF;
      sbus.channels[15] = ((int16_t)sbus.rx_buf[21] >> 5 | ((int16_t)sbus.rx_buf[22] << 3 )) & 0x07FF;

      memset(sbus.rx_buf, 0, sizeof(sbus.rx_buf));

////    HAL_UART_Receive_DMA(&huart2, &sbus.rx_buf[0], 25);
//    HAL_UART_Receive_DMA(&huart2, sbus.rx_buf, SBUS_FRAME_SIZE);

    static char msg[128];  // 静态缓冲区，避免生命周期问题
    static uint32_t last_send_time = 0;

    // 限制发送频率，避免DMA过载
    uint32_t current_time = HAL_GetTick();
    if (current_time - last_send_time < 20) {  // 50Hz最大频率
        return;
    }

    int len = snprintf(msg, sizeof(msg),
                      "CH1:%4d CH2:%4d CH3:%4d CH4:%4d CH5:%4d CH6:%4d CH7:%4d CH8:%4d \r\n",
                      sbus.channels[0], sbus.channels[1],
                      sbus.channels[2], sbus.channels[3],
                      sbus.channels[4], sbus.channels[5],
                      sbus.channels[6], sbus.channels[7]);

    // 安全检查
    if (len <= 0 || len >= sizeof(msg)) {
        return;  // 格式化错误
    }

    // 检查DMA传输状态
    if (huart2.gState == HAL_UART_STATE_READY) {
        HAL_StatusTypeDef status = HAL_UART_Transmit_DMA(&huart2, (uint8_t*)msg, len);
        if (status == HAL_OK) {
            last_send_time = current_time;
        }
         // 如果DMA忙，静默跳过，下次再试
    }

  } else {
     // 帧错误处理
    sbus.err_count++;
    // 发送错误信息到串口
    char error_msg[64];
    int len = snprintf(error_msg, sizeof(error_msg),
                      "SBUS Frame Error! Header:0x%02X Footer:0x%02X\r\n",
                      sbus.rx_buf[0], sbus.rx_buf[24]);
    HAL_UART_Transmit_DMA(&huart2, (uint8_t*)error_msg, len);
//    // LED指示 - 信号异常
//    HAL_GPIO_WritePin(LED1_GPIO_Port, LED1_Pin, GPIO_PIN_RESET);
  }

}

// 空闲中断回调函数
void HAL_UARTEx_RxEventCallback(UART_HandleTypeDef *huart, uint16_t Size) {

    if (huart->Instance == USART1) {
        __HAL_UART_CLEAR_IDLEFLAG(&huart1);    // clear the flag of the IDLE
        HAL_UART_DMAStop(&huart1);             // stop the dma receive mode firstly
       sbus.rx_len = __HAL_DMA_GET_COUNTER(huart->hdmarx);
       sbus.rx_len =  SBUS_FRAME_SIZE;
        sbus.rx_len =  SBUS_FRAME_SIZE -__HAL_DMA_GET_COUNTER(huart1.hdmarx);
       sbus.idle_flag = 1;
  }
}
// 全局变量记录上次的n值，避免频繁更新
static uint16_t last_n_value = 199;
static uint32_t last_update_time = 0;

// SBUS处理函数
void process_ch5_switch(void) {
    // CH5通道值：0~1023，下拨通常对应小值（<512），上拨对应大值（>=512）
    uint16_t ch5_val = sbus.channels[4];
    uint8_t ch5_current_state = (ch5_val < 512) ? 1 : 0;  // 1=下拨状态，0=未下拨状态

    // 检测CH5从“未下拨”变为“下拨”（边沿触发，防止重复使能）
    if (ch5_current_state == 1 && ch5_last_state == 0) {
        servo_enable_flag = 1;  // 开启舵机使能
        ch5_last_state = 1;     // 更新CH5上次状态
        // 可选：发送使能提示
        char enable_msg[] = "Servo Enabled (CH5 Down)\r\n";
        HAL_UART_Transmit_DMA(&huart2, (uint8_t*)enable_msg, strlen(enable_msg));
    }
    // CH5上拨时关闭舵机
     if (ch5_current_state == 0 && ch5_last_state == 1) {
         servo_enable_flag = 0;
        ch5_last_state = 0;
        char disable_msg[] = "Servo Disabled (CH5 Up)\r\n";
       HAL_UART_Transmit_DMA(&huart2, (uint8_t*)disable_msg, strlen(disable_msg));
     }
}

void process_sbus_throttle(void) {
    uint32_t current_time = HAL_GetTick();

    // 限制更新频率，避免过于频繁的参数变化
    if (current_time - last_update_time < 100) {  // 每100ms更新一次
        return;
    }

    // 获取油门通道值并映射到n值
    uint16_t throttle = sbus.channels[2];  // 第三通道
    uint16_t new_n = map_throttle_to_n(throttle);

    //只有当n值变化较大时才更新，避免微小抖动
    if (abs((int16_t)new_n - (int16_t)last_n_value) >= 5) {
//        printf("SBUs: throttle=%d -> n=%d\r\n", throttle, new_n);

        // 调用参数更新函数
        // 保持原有的phi_max和phi_min，只更新n值
        Update_Motion_Parameters(current_params.phi_max, current_params.phi_min, new_n);

        last_n_value = new_n;
        last_update_time = current_time;
    }
}
// 将SBUS油门通道值[200-1800]映射到n值[99-399]
uint16_t map_throttle_to_n(uint16_t throttle_value) {
    // 输入范围限制
    if (throttle_value < 200) throttle_value = 200;
    if (throttle_value > 1800) throttle_value = 1800;

     // 线性映射: [200-1800] -> [49-199]
    // 公式: n = (throttle - 200) * (199-49) / (1800-200) + 49
    uint16_t n_value = (uint16_t)((throttle_value - 200) * 150.0f / 1600.0f + 49);

    //确保在范围内
    if (n_value < 49) n_value = 49;
    if (n_value > 199) n_value = 199;

    return n_value;
}
//-------------sbus program end------------------
// 获取当前状态信息
void Get_Current_Status(float* current_angle, uint16_t* current_t,
                       SystemState_t* state, uint8_t* is_transition) {
    if (system_state == STATE_DOWNSTROKE || system_state == STATE_UPSTROKE ||
        system_state == STATE_TRANSITION_UPSTROKE) {
        *current_angle = calculate_phi_value(t_counter, &current_params,1.0f);
    } else {
        *current_angle = 0.0f;
    }
    *current_t = t_counter;
    *state = system_state;
    *is_transition = transition_active;
}
/* USER CODE END 4 */

void Error_Handler(void)
{
  __disable_irq();
  while (1)
  {
  }
}
